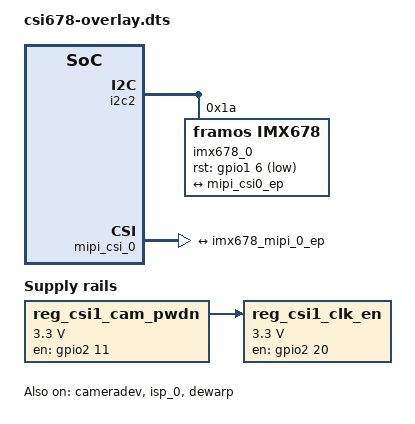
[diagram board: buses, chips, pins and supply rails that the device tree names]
// SPDX-License-Identifier: (GPL-2.0+ OR MIT)
/*
 * Copyright 2023 ADLINK Technology Corp.
 *
 * Author: Po Cheng <po.cheng@adlinktech.com>
 */

/dts-v1/;
/plugin/;

/ {
	fragment@0 {
		target-path = "/";
		__overlay__ {
			reg_csi1_cam_pwdn: regulatorex-csi1_cam_pwdn {
				compatible = "regulator-fixed";
				regulator-name = "csi1_cam_pwdn";
				regulator-min-microvolt = <3300000>;
				regulator-max-microvolt = <3300000>;
				regulator-always-on;
				gpio = <&gpio2 11 0>; /* GPIO_ACTIVE_HIGH = 0 */
				enable-active-high;
			};

			reg_csi1_clk_en: regulatorex-csi1_clk_en {
				compatible = "regulator-fixed";
				regulator-name = "csi1_clk_en";
				regulator-min-microvolt = <3300000>;
				regulator-max-microvolt = <3300000>;
				regulator-always-on;
				regulator-boot-on;
				vin-supply = <&reg_csi1_cam_pwdn>;
				startup-delay-us = <200000>;
				gpio = <&gpio2 20 0>; /* GPIO_ACTIVE_HIGH = 0 */
				enable-active-high;
			};
		};
	};

	fragment@1 {
		target = <&i2c2>;
		__overlay__ {
			imx678_0: imx678_mipi@1a {
				compatible = "framos,imx678";
				reg = <0x1a>;
				pinctrl-names = "default";
				pinctrl-0 = <&pinctrl_csi0_pwn>, <&pinctrl_csi0_rst>, <&pinctrl_csi_mclk>;
				clocks = <&clk 165>; /* IMX8MP_CLK_IPP_DO_CLKO2 = 165 */
				clock-names = "csi_mclk";
				csi_id = <0>;
				rst-gpios = <&gpio1 6 1>; /* GPIO_ACTIVE_LOW = 1 */
				mipi_csi;
				status = "okay";
				mclk = <24000000>;
				mclk_source = <0>;

				port {
					imx678_mipi_0_ep: endpoint {
						remote-endpoint = <&mipi_csi0_ep>;
						data-lanes = <1 2 3 4>;
						clock-lanes = <0>;
						max-pixel-frequency = /bits/ 64 <500000000>;
					};
				};
			};
		};
	};

	fragment@2 {
		target = <&cameradev>;
		__overlay__ {
			status = "okay";
		};
	};

	fragment@3 {
		target = <&isi_0>;
		__overlay__ {
			status = "disabled";
		};
	};

	fragment@4 {
		target = <&isi_1>;
		__overlay__ {
			status = "disabled";
		};
	};

	fragment@5 {
		target = <&isp_0>;
		__overlay__ {
			status = "okay";
		};
	};

	fragment@6 {
		target = <&dewarp>;
		__overlay__ {
			status = "okay";
		};
	};

	fragment@7 {
		target = <&mipi_csi_0>;
		__overlay__ {
			#address-cells = <1>;
			#size-cells = <0>;
			status = "okay";

			port@0 {
				reg = <0>;
				mipi_csi0_ep: endpoint {
					remote-endpoint = <&imx678_mipi_0_ep>;
					data-lanes = <4>;
					csis-hs-settle = <13>;
					csis-clk-settle = <2>;
					csis-wclk;
				};
			};
		};
	};

	fragment@8 {
		target = <&mipi_csi_1>;
		__overlay__ {
			status = "disabled";
		};
	};

	fragment@9 {
		target = <&iomuxc>;
		__overlay__ {
			pinctrl_csi0_pwn: csi0_pwn_grp {
				fsl,pins = <
					0x0B8 0x318 0x000 0x5 0x0	0x10
				>; /* MX8MP_IOMUXC_SD1_STROBE__GPIO2_IO11 */
			};

			pinctrl_csi0_rst: csi0_rst_grp {
				fsl,pins = <
					0x02C 0x28C 0x000 0x0 0x0	0x10
				>; /* MX8MP_IOMUXC_GPIO1_IO06__GPIO1_IO06 */
			};

			pinctrl_csi_mclk: csi_mclk_grp {
				fsl,pins = <
					0x050 0x2B0 0x000 0x6 0x0	0x50
				>; /* MX8MP_IOMUXC_GPIO1_IO15__CCM_CLKO2 */
			};
		};
	};
};

